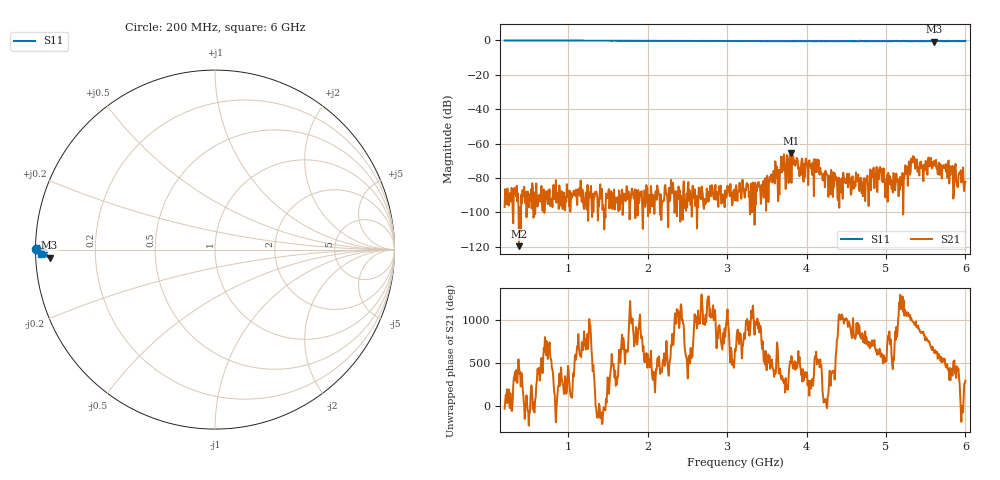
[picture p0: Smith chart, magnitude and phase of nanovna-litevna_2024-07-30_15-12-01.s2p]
! NanoVNA-App by OneOfEleven et al v1.1.209 (+OD15)
! Date: 2024-07-30 15:12:06
! Start: 200MHz Stop: 6GHz Points: 801
! S-Parameter data: F S11 S21 S12 S22
# Hz S RI R 50
!  Frequency  S11_Real  S11_Imag  S21_Real  S21_Imag  S12_Real  S12_Imag  S22_Real  S22_Imag
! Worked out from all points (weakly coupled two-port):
!   801 points, 200 MHz to 6 GHz, reference 50 ohm
!   highest |S21| = -65.69 dB at 3.803 GHz (marker M1); lowest = -119.7 dB at 381.2 MHz (marker M2)
!   lowest |S11| = -0.7 dB at 5.601 GHz (marker M3), VSWR 25.00, Z = 2 - j1.21 ohm
!   |S11| at or under -10 dB: nowhere
!   S12 and S22 are empty: the file has one direction only
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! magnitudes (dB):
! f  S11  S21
! 200 MHz  0.0  -96.9
! 381.2 MHz  0.0  -119.7
! 1.171 GHz  -0.1  -93.9
! 2.136 GHz  -0.2  -88.0
! 3.1 GHz  -0.4  -93.2
! 3.55 GHz  -0.4  -79.4
! 3.644 GHz  -0.3  -93.5
! 3.695 GHz  -0.4  -76.6
! 3.752 GHz  -0.4  -66.7
! 3.803 GHz  -0.3  -65.7
! 3.861 GHz  -0.4  -72.9
! 3.934 GHz  -0.4  -71.3
! 4.072 GHz  -0.4  -78.2
! 4.303 GHz  -0.4  -89.6
! 4.768 GHz  -0.4  -78.6
! 4.912 GHz  -0.5  -80.7
! 5.036 GHz  -0.3  -83.3
! 5.202 GHz  -0.3  -80.0
! 5.348 GHz  -0.4  -71.0
! 5.442 GHz  -0.4  -70.5
! 5.601 GHz  -0.7  -70.5
! 6 GHz  -0.3  -82.3
